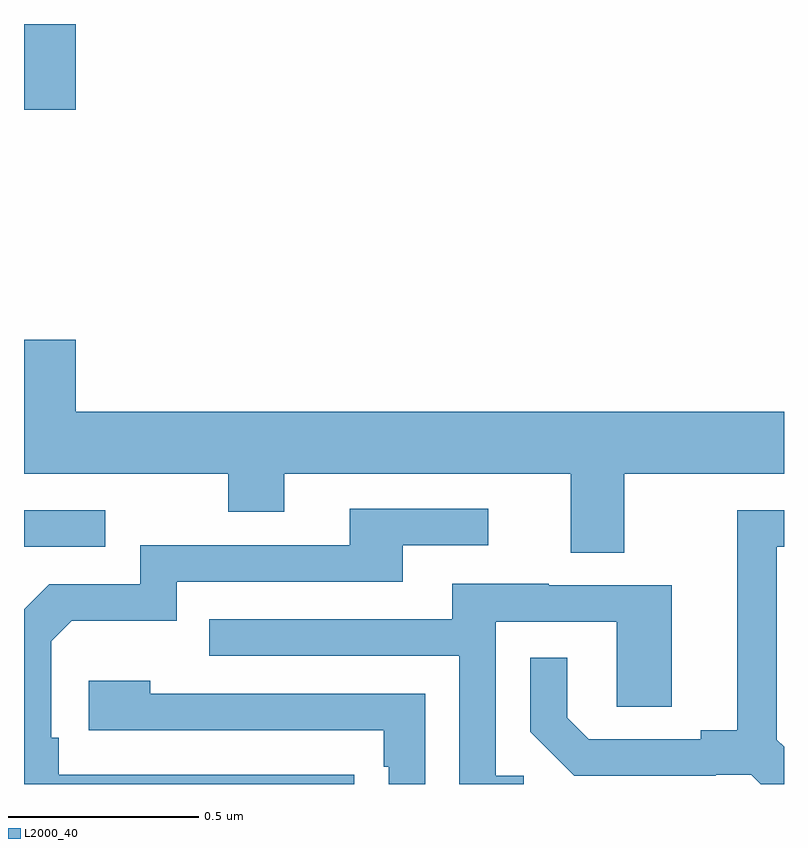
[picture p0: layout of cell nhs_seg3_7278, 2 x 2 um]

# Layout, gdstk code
import gdstk
lib = gdstk.Library(unit=1e-6, precision=1e-09)
def R(c, l, rs):  # rectangles x0, y0, x1, y1
    for r in rs: c.add(gdstk.rectangle(r[:2], r[2:], *l))
def P(c, l, *ps):  # polygons
    for p in ps: c.add(gdstk.Polygon(p, *l))
L2000_40 = (2000, 40)

nhs_seg3_7278 = lib.new_cell('nhs_seg3_7278')
R(nhs_seg3_7278, L2000_40, [(201,734.025,201.214,734.121), (201,735.174,201.136,735.4)])
P(nhs_seg3_7278, L2000_40, [(202.579,734.216),(203,734.216),(203,734.38),(201.136,734.38),(201.136,734.569),(201,734.569),(201,734.216),(201.538,734.216),(201.538,734.117),(201.685,734.117),(201.685,734.216),(202.439,734.216),(202.439,734.008),(202.579,734.008)],
  [(201.869,733.424),(201.767,733.424),(201.767,733.425),(201.092,733.425),(201.092,733.522),(201.072,733.522),(201.072,733.776),(201.125,733.829),(201.402,733.829),(201.402,733.932),(201.997,733.932),(201.997,734.028),(202.222,734.028),(202.222,734.124),(201.857,734.124),(201.857,734.028),(201.306,734.028),(201.306,733.926),(201.066,733.926),(201,733.86),(201,733.4),(201.869,733.4)],
  [(203,733.498),(202.981,733.517),(202.981,734.025),(203,734.025),(203,734.121),(202.877,734.121),(202.877,733.541),(202.781,733.541),(202.781,733.518),(202.486,733.518),(202.429,733.575),(202.429,733.732),(202.332,733.732),(202.332,733.538),(202.448,733.422),(202.82,733.422),(202.82,733.425),(202.914,733.425),(202.939,733.4),(203,733.4)],
  [(202.315,733.422),(202.242,733.422),(202.242,733.827),(202.56,733.827),(202.56,733.603),(202.705,733.603),(202.705,733.923),(202.381,733.923),(202.381,733.927),(202.127,733.927),(202.127,733.833),(201.487,733.833),(201.487,733.737),(202.146,733.737),(202.146,733.4),(202.315,733.4)],
  [(202.056,733.638),(201.332,733.638),(201.332,733.672),(201.171,733.672),(201.171,733.542),(201.947,733.542),(201.947,733.445),(201.96,733.445),(201.96,733.4),(202.056,733.4)])

lib.write_gds('nhs_seg3_7278.gds')
